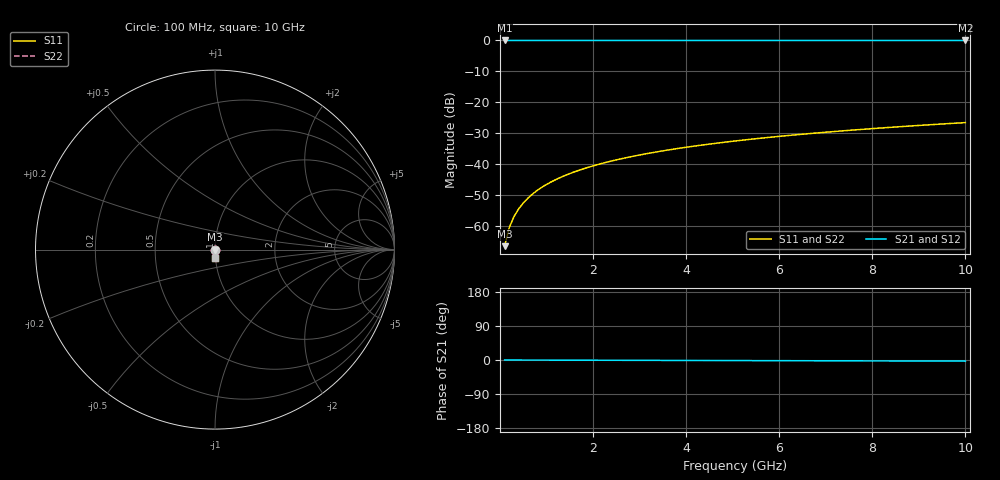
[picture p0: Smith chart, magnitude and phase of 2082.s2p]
# Hz S RI R 50.00
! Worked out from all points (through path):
!   100 points, 100 MHz to 10 GHz, reference 50 ohm
!   highest |S21| = 0.00 dB at 100 MHz (marker M1); lowest = 0.0 dB at 10 GHz (marker M2)
!   lowest |S11| = -66.7 dB at 100 MHz (marker M3), VSWR 1.00, Z = 50 - j0.0463 ohm
!   |S11| at or under -10 dB: start of sweep to end of sweep
!   |S22| runs from -66.7 to -26.6 dB; largest |S21 - S12| = 0
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1e8  9.63e-06 -0.000463  1 -0.00052  1 -0.00052  9.63e-06 -0.000463
2e8  8.5e-06 -0.000927  1 -0.00104  1 -0.00104  8.5e-06 -0.000927
3e8  6.86e-06 -0.00139  1 -0.00156  1 -0.00156  6.86e-06 -0.00139
4e8  4.74e-06 -0.00185  1 -0.00208  1 -0.00208  4.74e-06 -0.00185
5e8  2.13e-06 -0.00232  1 -0.0026  1 -0.0026  2.13e-06 -0.00232
6e8  -9.68e-07 -0.00278  1 -0.00312  1 -0.00312  -9.68e-07 -0.00278
7e8  -4.55e-06 -0.00324  1 -0.00364  1 -0.00364  -4.55e-06 -0.00324
8e8  -8.62e-06 -0.00371  1 -0.00416  1 -0.00416  -8.62e-06 -0.00371
9e8  -1.32e-05 -0.00417  1 -0.00468  1 -0.00468  -1.32e-05 -0.00417
1.1e9  -2.37e-05 -0.0051  1 -0.00572  1 -0.00572  -2.37e-05 -0.0051
1.4e9  -4.32e-05 -0.00649  0.9999 -0.00728  0.9999 -0.00728  -4.32e-05 -0.00649
1.8e9  -7.6e-05 -0.00835  0.9999 -0.00937  0.9999 -0.00937  -7.6e-05 -0.00835
2.1e9  -0.000106 -0.00974  0.9999 -0.0109  0.9999 -0.0109  -0.000106 -0.00974
2.5e9  -0.000152 -0.0116  0.9998 -0.013  0.9998 -0.013  -0.000152 -0.0116
2.9e9  -0.000206 -0.0135  0.9998 -0.0151  0.9998 -0.0151  -0.000206 -0.0135
3.4e9  -0.000285 -0.0158  0.9997 -0.0177  0.9997 -0.0177  -0.000285 -0.0158
4.2e9  -0.000436 -0.0195  0.9995 -0.0219  0.9995 -0.0219  -0.000436 -0.0195
5.1e9  -0.000644 -0.0237  0.9993 -0.0266  0.9993 -0.0266  -0.000644 -0.0237
5.9e9  -0.000862 -0.0274  0.9991 -0.0308  0.9991 -0.0308  -0.000862 -0.0274
6.7e9  -0.00111 -0.0311  0.9989 -0.035  0.9989 -0.035  -0.00111 -0.0311
8.4e9  -0.00175 -0.0391  0.9982 -0.0439  0.9982 -0.0439  -0.00175 -0.0391
1e10  -0.00248 -0.0466  0.9975 -0.0523  0.9975 -0.0523  -0.00248 -0.0466
